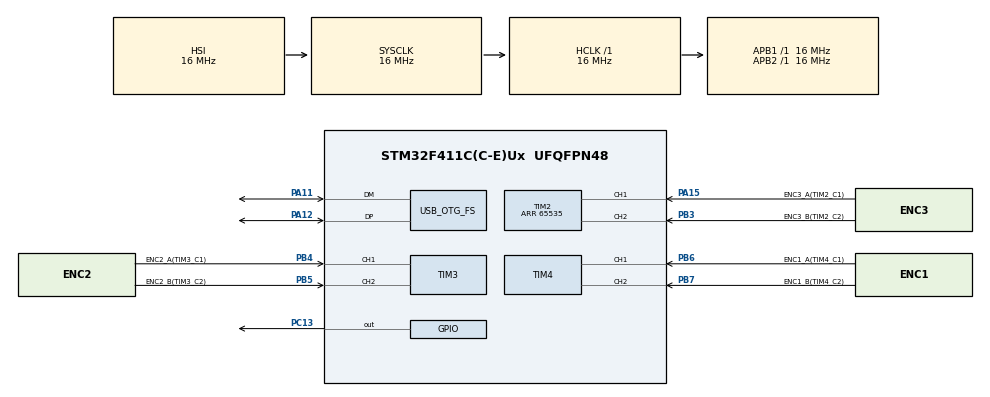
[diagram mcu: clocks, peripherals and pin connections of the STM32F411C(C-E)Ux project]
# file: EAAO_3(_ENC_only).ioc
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Mcu.Family=STM32F4
Mcu.Name=STM32F411C(C-E)Ux
Mcu.Package=UFQFPN48
NVIC.OTG_FS_IRQn=true\:0\:0\:false\:false\:true\:false\:true\:true
NVIC.PriorityGroup=NVIC_PRIORITYGROUP_4
PA11.Mode=Device_Only
PA11.Signal=USB_OTG_FS_DM
PA12.Mode=Device_Only
PA12.Signal=USB_OTG_FS_DP
PA13.Mode=Serial_Wire
PA13.Signal=SYS_JTMS-SWDIO
PA14.Mode=Serial_Wire
PA14.Signal=SYS_JTCK-SWCLK
PA15.GPIO_Label=ENC3_A(TIM2_C1)
PA15.Signal=S_TIM2_CH1_ETR
PB3.GPIO_Label=ENC3_B(TIM2_C2)
PB3.Signal=S_TIM2_CH2
PB4.GPIO_Label=ENC2_A(TIM3_C1)
PB4.Signal=S_TIM3_CH1
PB5.GPIO_Label=ENC2_B(TIM3_C2)
PB5.Signal=S_TIM3_CH2
PB6.GPIO_Label=ENC1_A(TIM4_C1)
PB6.Signal=S_TIM4_CH1
PB7.GPIO_Label=ENC1_B(TIM4_C2)
PB7.Signal=S_TIM4_CH2
PC13-ANTI_TAMP.Signal=GPIO_Output
PH0\ -\ OSC_IN.Mode=HSE-External-Oscillator
PH0\ -\ OSC_IN.Signal=RCC_OSC_IN
PH1\ -\ OSC_OUT.Mode=HSE-External-Oscillator
PH1\ -\ OSC_OUT.Signal=RCC_OSC_OUT
ProjectManager.HeapSize=0x200
ProjectManager.StackSize=0x400
ProjectManager.TargetToolchain=STM32CubeIDE
RCC.48MHZClocksFreq_Value=48000000
RCC.AHBFreq_Value=16000000
RCC.APB1Freq_Value=16000000
RCC.APB2Freq_Value=16000000
RCC.CortexFreq_Value=16000000
RCC.HSE_VALUE=25000000
RCC.HSI_VALUE=16000000
RCC.LSE_VALUE=32768
RCC.PLLM=15
RCC.PLLN=144
RCC.PLLQ=5
RCC.SYSCLKFreq_VALUE=16000000
RCC.VCOOutputFreq_Value=240000000
SH.S_TIM2_CH1_ETR.0=TIM2_CH1,Encoder_Interface
SH.S_TIM2_CH2.0=TIM2_CH2,Encoder_Interface
SH.S_TIM3_CH1.0=TIM3_CH1,Encoder_Interface
SH.S_TIM3_CH2.0=TIM3_CH2,Encoder_Interface
SH.S_TIM4_CH1.0=TIM4_CH1,Encoder_Interface
SH.S_TIM4_CH2.0=TIM4_CH2,Encoder_Interface
TIM2.EncoderMode=TIM_ENCODERMODE_TI1
TIM2.Period=65535
TIM4.EncoderMode=TIM_ENCODERMODE_TI1
USB_DEVICE.CLASS_NAME_FS=CDC
USB_DEVICE.VirtualMode=Cdc
USB_DEVICE.VirtualModeFS=Cdc_FS
USB_OTG_FS.VirtualMode=Device_Only
VP_USB_DEVICE_VS_USB_DEVICE_CDC_FS.Mode=CDC_FS
board=custom

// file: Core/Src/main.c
/* USER CODE BEGIN Header */
/**
  ******************************************************************************
  * @file           : main.c
  * @brief          : Main program body
  ******************************************************************************
  * @attention
  *
  * Copyright (c) 2026 STMicroelectronics.
  * All rights reserved.
  *
  * This software is licensed under terms that can be found in the LICENSE file
  * in the root directory of this software component.
  * If no LICENSE file comes with this software, it is provided AS-IS.
  *
  ******************************************************************************
  */
/* USER CODE END Header */
#include "main.h"
#include "usb_device.h"

/* USER CODE BEGIN Includes */
#include "encoder.h"
#include "usbd_cdc_if.h"
#include "usbd_cdc.h"
#include <stdio.h>
#include <string.h>
#include <stdlib.h>
#include <math.h>
/* USER CODE END Includes */

TIM_HandleTypeDef htim2;
TIM_HandleTypeDef htim3;
TIM_HandleTypeDef htim4;

/* USER CODE BEGIN PV */
static char txbuf[96];
static uint32_t s_last_tick_50ms;
/* USER CODE END PV */

void SystemClock_Config(void);
static void MX_GPIO_Init(void);
static void MX_TIM2_Init(void);
static void MX_TIM3_Init(void);
static void MX_TIM4_Init(void);

int main(void)
{

  /* MCU Configuration--------------------------------------------------------*/

  /* Reset of all peripherals, Initializes the Flash interface and the Systick. */
  HAL_Init();

  /* Configure the system clock */
  SystemClock_Config();

  /* Initialize all configured peripherals */
  MX_GPIO_Init();
  MX_TIM2_Init();
  MX_TIM3_Init();
  MX_TIM4_Init();
  MX_USB_DEVICE_Init();
  /* USER CODE BEGIN 2 */
  HAL_Delay(1000);

  encoder_init(&htim2, &htim3, &htim4);
  s_last_tick_50ms = HAL_GetTick();
  /* USER CODE END 2 */

  /* Infinite loop */
  /* USER CODE BEGIN WHILE */
  while (1)
  {
	if (HAL_GetTick() - s_last_tick_50ms >= 50) {
		s_last_tick_50ms = HAL_GetTick();
		encoder_update();
		int elen = snprintf(txbuf, sizeof(txbuf), "E,%ld,%ld,%ld\r\n",
							 (long)encoder_get_count(0),
							 (long)encoder_get_count(1),
							 (long)encoder_get_count(2));
		CDC_Transmit_FS((uint8_t*)txbuf, elen);
	}
    /* USER CODE END WHILE */

  }
}

void SystemClock_Config(void)
{
  RCC_OscInitTypeDef RCC_OscInitStruct = {0};
  RCC_ClkInitTypeDef RCC_ClkInitStruct = {0};

  /** Configure the main internal regulator output voltage
  */
  __HAL_RCC_PWR_CLK_ENABLE();
  __HAL_PWR_VOLTAGESCALING_CONFIG(PWR_REGULATOR_VOLTAGE_SCALE1);

  /** Initializes the RCC Oscillators according to the specified parameters
  * in the RCC_OscInitTypeDef structure.
  */
  RCC_OscInitStruct.OscillatorType = RCC_OSCILLATORTYPE_HSI|RCC_OSCILLATORTYPE_HSE;
  RCC_OscInitStruct.HSEState = RCC_HSE_ON;
  RCC_OscInitStruct.HSIState = RCC_HSI_ON;
  RCC_OscInitStruct.HSICalibrationValue = RCC_HSICALIBRATION_DEFAULT;
  RCC_OscInitStruct.PLL.PLLState = RCC_PLL_ON;
  RCC_OscInitStruct.PLL.PLLSource = RCC_PLLSOURCE_HSE;
  RCC_OscInitStruct.PLL.PLLM = 15;
  RCC_OscInitStruct.PLL.PLLN = 144;
  RCC_OscInitStruct.PLL.PLLP = RCC_PLLP_DIV2;
  RCC_OscInitStruct.PLL.PLLQ = 5;
  if (HAL_RCC_OscConfig(&RCC_OscInitStruct) != HAL_OK)
  {
    Error_Handler();
  }

  /** Initializes the CPU, AHB and APB buses clocks
  */
  RCC_ClkInitStruct.ClockType = RCC_CLOCKTYPE_HCLK|RCC_CLOCKTYPE_SYSCLK
                              |RCC_CLOCKTYPE_PCLK1|RCC_CLOCKTYPE_PCLK2;
  RCC_ClkInitStruct.SYSCLKSource = RCC_SYSCLKSOURCE_HSI;
  RCC_ClkInitStruct.AHBCLKDivider = RCC_SYSCLK_DIV1;
  RCC_ClkInitStruct.APB1CLKDivider = RCC_HCLK_DIV1;
  RCC_ClkInitStruct.APB2CLKDivider = RCC_HCLK_DIV1;

  if (HAL_RCC_ClockConfig(&RCC_ClkInitStruct, FLASH_LATENCY_0) != HAL_OK)
  {
    Error_Handler();
  }
}

static void MX_TIM2_Init(void)
{

  TIM_Encoder_InitTypeDef sConfig = {0};
  TIM_MasterConfigTypeDef sMasterConfig = {0};

  htim2.Instance = TIM2;
  htim2.Init.Prescaler = 0;
  htim2.Init.CounterMode = TIM_COUNTERMODE_UP;
  htim2.Init.Period = 65535;
  htim2.Init.ClockDivision = TIM_CLOCKDIVISION_DIV1;
  htim2.Init.AutoReloadPreload = TIM_AUTORELOAD_PRELOAD_DISABLE;
  sConfig.EncoderMode = TIM_ENCODERMODE_TI1;
  sConfig.IC1Polarity = TIM_ICPOLARITY_RISING;
  sConfig.IC1Selection = TIM_ICSELECTION_DIRECTTI;
  sConfig.IC1Prescaler = TIM_ICPSC_DIV1;
  sConfig.IC1Filter = 0;
  sConfig.IC2Polarity = TIM_ICPOLARITY_RISING;
  sConfig.IC2Selection = TIM_ICSELECTION_DIRECTTI;
  sConfig.IC2Prescaler = TIM_ICPSC_DIV1;
  sConfig.IC2Filter = 0;
  if (HAL_TIM_Encoder_Init(&htim2, &sConfig) != HAL_OK)
  {
    Error_Handler();
  }
  sMasterConfig.MasterOutputTrigger = TIM_TRGO_RESET;
  sMasterConfig.MasterSlaveMode = TIM_MASTERSLAVEMODE_DISABLE;
  if (HAL_TIMEx_MasterConfigSynchronization(&htim2, &sMasterConfig) != HAL_OK)
  {
    Error_Handler();
  }

}

static void MX_TIM3_Init(void)
{

  TIM_Encoder_InitTypeDef sConfig = {0};
  TIM_MasterConfigTypeDef sMasterConfig = {0};

  htim3.Instance = TIM3;
  htim3.Init.Prescaler = 0;
  htim3.Init.CounterMode = TIM_COUNTERMODE_UP;
  htim3.Init.Period = 65535;
  htim3.Init.ClockDivision = TIM_CLOCKDIVISION_DIV1;
  htim3.Init.AutoReloadPreload = TIM_AUTORELOAD_PRELOAD_DISABLE;
  sConfig.EncoderMode = TIM_ENCODERMODE_TI1;
  sConfig.IC1Polarity = TIM_ICPOLARITY_RISING;
  sConfig.IC1Selection = TIM_ICSELECTION_DIRECTTI;
  sConfig.IC1Prescaler = TIM_ICPSC_DIV1;
  sConfig.IC1Filter = 0;
  sConfig.IC2Polarity = TIM_ICPOLARITY_RISING;
  sConfig.IC2Selection = TIM_ICSELECTION_DIRECTTI;
  sConfig.IC2Prescaler = TIM_ICPSC_DIV1;
  sConfig.IC2Filter = 0;
  if (HAL_TIM_Encoder_Init(&htim3, &sConfig) != HAL_OK)
  {
    Error_Handler();
  }
  sMasterConfig.MasterOutputTrigger = TIM_TRGO_RESET;
  sMasterConfig.MasterSlaveMode = TIM_MASTERSLAVEMODE_DISABLE;
  if (HAL_TIMEx_MasterConfigSynchronization(&htim3, &sMasterConfig) != HAL_OK)
  {
    Error_Handler();
  }

}

static void MX_TIM4_Init(void)
{

  TIM_Encoder_InitTypeDef sConfig = {0};
  TIM_MasterConfigTypeDef sMasterConfig = {0};

  htim4.Instance = TIM4;
  htim4.Init.Prescaler = 0;
  htim4.Init.CounterMode = TIM_COUNTERMODE_UP;
  htim4.Init.Period = 65535;
  htim4.Init.ClockDivision = TIM_CLOCKDIVISION_DIV1;
  htim4.Init.AutoReloadPreload = TIM_AUTORELOAD_PRELOAD_DISABLE;
  sConfig.EncoderMode = TIM_ENCODERMODE_TI1;
  sConfig.IC1Polarity = TIM_ICPOLARITY_RISING;
  sConfig.IC1Selection = TIM_ICSELECTION_DIRECTTI;
  sConfig.IC1Prescaler = TIM_ICPSC_DIV1;
  sConfig.IC1Filter = 0;
  sConfig.IC2Polarity = TIM_ICPOLARITY_RISING;
  sConfig.IC2Selection = TIM_ICSELECTION_DIRECTTI;
  sConfig.IC2Prescaler = TIM_ICPSC_DIV1;
  sConfig.IC2Filter = 0;
  if (HAL_TIM_Encoder_Init(&htim4, &sConfig) != HAL_OK)
  {
    Error_Handler();
  }
  sMasterConfig.MasterOutputTrigger = TIM_TRGO_RESET;
  sMasterConfig.MasterSlaveMode = TIM_MASTERSLAVEMODE_DISABLE;
  if (HAL_TIMEx_MasterConfigSynchronization(&htim4, &sMasterConfig) != HAL_OK)
  {
    Error_Handler();
  }

}

static void MX_GPIO_Init(void)
{
  GPIO_InitTypeDef GPIO_InitStruct = {0};

  /* GPIO Ports Clock Enable */
  __HAL_RCC_GPIOC_CLK_ENABLE();
  __HAL_RCC_GPIOH_CLK_ENABLE();
  __HAL_RCC_GPIOA_CLK_ENABLE();
  __HAL_RCC_GPIOB_CLK_ENABLE();

  /*Configure GPIO pin Output Level */
  HAL_GPIO_WritePin(GPIOC, GPIO_PIN_13, GPIO_PIN_RESET);

  /*Configure GPIO pin : PC13 */
  GPIO_InitStruct.Pin = GPIO_PIN_13;
  GPIO_InitStruct.Mode = GPIO_MODE_OUTPUT_PP;
  GPIO_InitStruct.Pull = GPIO_NOPULL;
  GPIO_InitStruct.Speed = GPIO_SPEED_FREQ_LOW;
  HAL_GPIO_Init(GPIOC, &GPIO_InitStruct);

}

void Error_Handler(void)
{
  __disable_irq();
  while (1)
  {
  }
}
